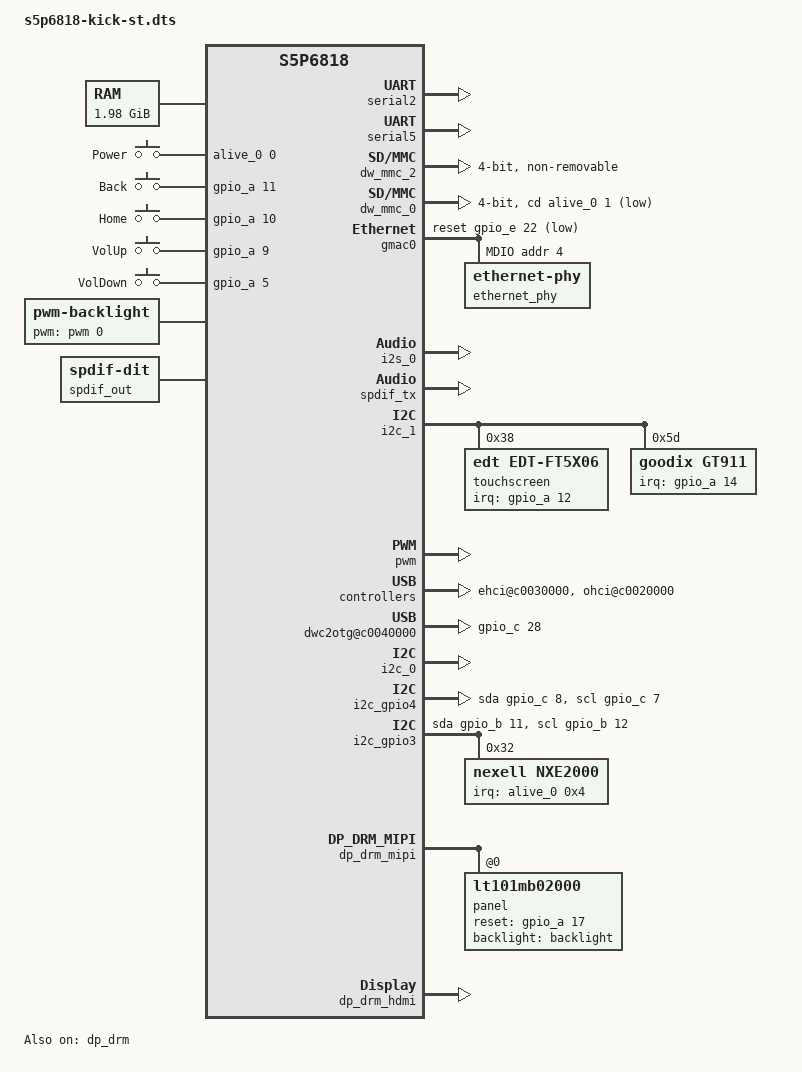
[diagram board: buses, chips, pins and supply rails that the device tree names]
/*
 * Copyright (C) 2016  Nexell Co., Ltd.
 * Author: Youngbok, Park <ybpark@nexell.co.kr>
 *
 * This program is free software; you can redistribute it and/or
 * modify it under the terms of the GNU General Public License
 * as published by the Free Software Foundation; either version 2
 * of the License, or (at your option) any later version.
 *
 * This program is distributed in the hope that it will be useful,
 * but WITHOUT ANY WARRANTY; without even the implied warranty of
 * MERCHANTABILITY or FITNESS FOR A PARTICULAR PURPOSE.  See the
 * GNU General Public License for more details.
 *
 * You should have received a copy of the GNU General Public License
 * along with this program.  If not, see <http://www.gnu.org/licenses/>.
 */

/dts-v1/;
/memreserve/ 0x7ed00000 0x00100000; /* OP-TEE SHM */
#include <dt-bindings/interrupt-controller/irq.h>
#include <dt-bindings/gpio/gpio.h>
#include <dt-bindings/input/input.h>
#include "s5p6818.dtsi"

#define PMIC_PDATA_INIT(_id, _rname, _minuv,    \
			_maxuv, _init_uv, _init_enable, \
			_set_init_uV, _slp_slots)       \
		regulator-name = _rname;                \
		regulator-min-microvolt = <_minuv>;     \
		regulator-max-microvolt = <_maxuv>;     \
		nx,id = <_id>;                          \
		nx,init_enable = <_init_enable>;        \
		nx,init_uV = <_init_uv>;                \
		nx,set_init_uV = <_set_init_uV>;        \
		nx,sleep_slots = <_slp_slots>;

/ {
	memory {
		device_type = "memory";
		reg = <0x40000000 0x7ee00000>;
	};

	nx-v4l2 {
		status = "okay";
	};

	soc {
		#include "s5p6818-pinctrl.dtsi"

		clocks {
			uart0:uart@c00a9000 { clock-frequency = <147500000>; };
			uart1:uart@c00a8000 { clock-frequency = <147500000>; };
			uart2:uart@c00aa000 { clock-frequency = <147500000>; };
			uart3:uart@c00ab000 { clock-frequency = <147500000>; };
			uart4:uart@c006e000 { clock-frequency = <147500000>; };
			uart5:uart@c0084000 { clock-frequency = <147500000>; };
			pwm0:pwm0@c00ba000 { clock-frequency = <100000000>; };
			i2c0:i2c@c00ae000  { clock-frequency = <200000000>; };
			i2c1:i2c@c00af000  { clock-frequency = <200000000>; };
			i2c2:i2c@c00b0000  { clock-frequency = <200000000>; };
		};

		serial2:serial@c00a2000 {
			status ="okay";
		};

		serial5:serial@c006f000 {
			status ="okay";
		};

		amba {
			pl08xdma0:pl08xdma@c0000000 {
				use_isr;

				ch12 {
					slave_wait_flush_dma;
				};

				ch13 {
					slave_wait_flush_dma;
				};

				ch14 {
					slave_wait_flush_dma;
				};

				ch15 {
					slave_wait_flush_dma;
				};
			};

			pl08xdma1:pl08xdma@c0001000 {
				use_isr;

				ch0 {
					slave_wait_flush_dma;
				};

				ch1 {
					slave_wait_flush_dma;
				};
			};
		};

		dynamic-freq@bb000 {
			supply_name = "vdd_core_regulator";
			vdd_core_regulator-supply = <&VCC_DCDC0>;
		};

		tmuctrl_0: tmuctrl@c0096000 {
			status = "okay";
		};

		thermal-zones {
			cpu0_thermal: cpu0-thermal {
				thermal-sensors = <&tmuctrl_0>;
				polling-delay-passive = <1000>;
				polling-delay = <1000>;
				trips {
					cpu_alert0: cpu-alert-0 {
						temperature = <80000>;
						hysteresis = <100000>;
						type = "active";
					};
					cpu_alert1: cpu-alert-1 {
						temperature = <85000>;
						hysteresis = <100000>;
						type = "passive";
					};
					cpu_alert2: cpu-alert-2 {
						temperature = <100000>;
						hysteresis = <100000>;
						type = "passive";
					};
					cpu-crit-0 {
						temperature = <115000>;
						hysteresis = <100000>;
						type = "critical";
					};
				};

				cooling-maps {
					map0 {
						trip = <&cpu_alert0>;
						cooling-device = <&cpu0 1 1>;
					};
					map1 {
						trip = <&cpu_alert1>;
						cooling-device = <&cpu0 4 4>;
					};
					map2 {
						trip = <&cpu_alert2>;
						cooling-device = <&cpu0 10 10>;
					};
				};
			};
		};

		dw_mmc_2:dw_mmc@c0069000 {
			num-slots = <1>;
			bus-width = <4>;
			cap-mmc-highspeed;
			broken-cd;
			non-removable;
			clock-frequency = <200000000>;
			card-detect-delay = <200>;
			disable-wp;
			status = "okay";
			nexell,drive_dly = <0x0>;
			nexell,drive_shift = <0x03>;
			nexell,sample_dly = <0x00>;
			nexell,sample_shift = <0x02>;
		};

		dw_mmc_0:dw_mmc@c0062000 {
			num-slots = <1>;
			bus-width = <4>;
			cap-sd-highspeed;
			clock-frequency = <100000000>;
			card-detect-delay = <200>;
			disable-wp;
			cd-gpios = <&alive_0 1 0>;
			cd-inverted;
			nexell,drive_dly = <0x0>;
			nexell,drive_shift = <0x02>;
			nexell,sample_dly = <0x00>;
			nexell,sample_shift = <0x01>;
			status = "okay";
		};

		gmac0:ethernet@c0060000 {
			pinctrl-names = "default";
			pinctrl-0 = <&gmac_pins>;

			status = "okay";
			#address-cells = <0x1>;
			#size-cells = <0x0>;

			snps,phy-addr = <4>;
			snps,reset-gpio = <&gpio_e 22 0>;
			snps,reset-active-low;
			snps,reset-delays-us = <0 10000 30000>;

			mdio {
				#address-cells = <1>;
				#size-cells = <0>;

				ethernet_phy: ethernet-phy@4 {
					reg = <4>;
					fixed-link {
						speed = <1000>;
						full-duplex;
					};
				};
			};
		};

		i2s_0:i2s@c0055000 {
			#sound-dai-cells = <1>;
			master-mode = <1>;
			mclk-in = <0>;
			trans-mode = <0>;
			frame-bit = <32>;
			sample-rate = <48000>;
			pre-supply-mclk = <1>;
			status = "okay";
		};

		spdif_tx: spdiftx@c0059000 {
			#sound-dai-cells = <1>;
			pcm-bit = <16>;
			sample_rate = <48000>;
			status = "okay";
		};
		i2c_1:i2c@c00a5000 {
			status = "okay";
			#address-cells = <1>;
			#size-cells = <0>;

			touchscreen@38 {
				compatible = "edt,edt-ft5x06";
				reg = <0x38>;
				interrupt-parent = <&gpio_a>;
				interrupts = <12 IRQ_TYPE_EDGE_FALLING>;
			};

			goodix@5d {
				compatible = "goodix,gt911";
				reg = <0x5d>;
				interrupt-parent = <&gpio_a>;
				interrupts = <14 IRQ_TYPE_EDGE_FALLING>;
			};

		};

		i2c_2:i2c@c00a6000 {
			status = "diabled";
			#address-cells = <1>;
			#size-cells = <0>;

			rt5640: rt5640@1c {
				#sound-dai-cells = <0>;
				compatible = "realtek,rt5640";
				reg = <0x1c>;
				realtek,ldo1-en-gpios =
					<&gpio_c 4 GPIO_ACTIVE_HIGH>;
			};
		};

		rtc@c0010c00 {
			status = "okay";
		};

		pwm:pwm@c0018000 {
			clocks =  <&pwm0>;
			clock-names = "pwm-tclk0";
			pinctrl-0 = <&pwm0_pin>;
			samsung,pwm-outputs = <0>;
			status = "okay";
		};

		pinctrl@C0010000 {
			key_power:key_power {
				nexell,pins = "alive-0";
				nexell,pin-function = <0>;
				nexell,pin-pull = <1>;
				nexell,pin-strength = <0>;
			};

			key_back:key_back {
				nexell,pins = "gpioa-11";
				nexell,pin-function = <0>;
				nexell,pin-pull = <1>;
				nexell,pin-strength = <0>;
			};

			key_home:key_home {
				nexell,pins = "gpioa-10";
				nexell,pin-function = <0>;
				nexell,pin-pull = <1>;
				nexell,pin-strength = <0>;
			};

			key_volup:key_volup {
				nexell,pins = "gpioa-9";
				nexell,pin-function = <0>;
				nexell,pin-pull = <1>;
				nexell,pin-strength = <0>;
			};

			key_voldown:key_voldown {
				nexell,pins = "gpioa-5";
				nexell,pin-function = <0>;
				nexell,pin-pull = <1>;
				nexell,pin-strength = <0>;
			};

			pmic_irq:pmic_irq{
				nexell,pins = "alive-5";
				nexell,pin-function = <0>;
				nexell,pin-pull = <1>;
				nexell,pin-strength = <0>;
			};
		};

		nexell_usbphy: nexell-usbphy@c0012000 {
			status = "okay";
		};

		ehci@c0030000 {
			status = "okay";
			port@0 {
				status = "okay";
			};
		};

		ohci@c0020000 {
			status = "okay";
			port@0 {
				status = "okay";
			};
		};

		dwc2otg@c0040000 {
			gpios = <&gpio_c 28 0>;
			status = "okay";
		};

		i2c_0:i2c@c00a4000 {
			status = "okay";
		};

		i2c_gpio4:i2c@4 {
			compatible = "i2c-gpio";
			gpios = <&gpio_c 8 0 /* sda */
				&gpio_c 7 0 /* scl */
				>;
			i2c-gpio,delay-us = <100>;
			#address-cells = <1>;
			#size-cells = <0>;
		};

		gpio_key: gpio_keys {
			compatible = "gpio-keys";
			#address-cells = <1>;
			#size-cells = <0>;
			pinctrl-names = "default";
			pinctrl-0 = <&key_power &key_back &key_voldown
				&key_home>;

			power {
				label = "Power";
				gpios = <&alive_0 0 0>;
				linux,code = <KEY_POWER>;
				gpio-key,wakeup;
			};

			back {
				label = "Back";
				gpios = <&gpio_a 11 0>;
				linux,code = <KEY_BACK>;
			};

			home {
				label = "Home";
				gpios = <&gpio_a 10 0>;
				linux,code = <KEY_HOMEPAGE>;
			};

			volup {
				label = "VolUp";
				gpios = <&gpio_a 9 0>;
				linux,code = <KEY_VOLUMEDOWN>;
			};

			voldown {
				label = "VolDown";
				gpios = <&gpio_a 5 0>;
				linux,code = <KEY_VOLUMEDOWN>;
			};
		};
	};	/*** soc ***/

	backlight: pwm-backlight {
		compatible = "pwm-backlight";
		pwms = <&pwm 0 30000 0>;
		pwm-names = "pwm-backlight";
		brightness-levels = < 0  1  2  3  4  5  6  7  8  9
				     10 11 12 13 14 15 16 17 18 19
				     20 21 22 23 24 25 26 27 28 29
				     30 31 32 33 34 35 36 37 38 39
				     40 41 42 43 44 45 46 47 48 49
				     50 51 52 53 54 55 56 57 58 59
				     60 61 62 63 64 65 66 67 68 69
				     70 71 72 73 74 75 76 77 78 79
				     80 81 82 83 84 85 86 87 88 89
				     90 91 92 93 94 95 96 97 98 99
				    100>;
		default-brightness-level = <60>;
		status = "okay";
	};

	sound {
		compatible = "simple-audio-card";
		simple-audio-card,name = "s5p6818 kick-st Audio";
		simple-audio-card,mclk-fs = <256>;

		simple-audio-card,dai-link@0 {
		    cpu {
			sound-dai = <&spdif_tx 0>;
		    };

		    codec {
			sound-dai = <&spdif_out>;
		    };
		};
	};

	spdif_out: spdif-out {
		#sound-dai-cells = <0>;
		compatible = "linux,spdif-dit";
	};

	i2c_gpio3: i2c@3 {
		compatible = "i2c-gpio";
		gpios = <&gpio_b 11 0	/* sda */
			&gpio_b 12 0	/* scl */
			>;

		i2c-gpio,delay-us = <1>;	/* ~100kHz */
		#address-cells = <1>;
		#size-cells = <0>;
		status = "okay";

		nxe2000@32 {
			compatible = "nexell,nxe2000";
			reg = <0x32>;
			interrupt-parent = <&alive_0>;
			interrupts = <0x4 IRQ_TYPE_EDGE_FALLING>;
			pinctrl-names = "default";
			pinctrl-0 = <&pmic_irq>;
		};
	};

	nexell-ion@0 {
		compatible = "nexell,ion";

		heap_sys_user@0 {
			heap-type = "ion_system";
		};

		heap_sys_contig@0 {
			heap-type = "ion_system_contig";
		};

		heap_dma@0 {
			heap-type = "ion_dma";
		};
	};

	regulators {
		VCC_DCDC0:
			dcdc1	{ PMIC_PDATA_INIT( 0,
				"nxe2000_dcdc1",
				900000, 1500000,
				1100000, 1, 0, 0x4)
				regulator-always-on;
				regulator-boot-on;};
		VCC_DCDC1:
			dcdc2	{ PMIC_PDATA_INIT( 1,
				"nxe2000_dcdc2",
				1000000, 1500000,
				1200000, 1, 0, 0x4)
				regulator-always-on;
				regulator-boot-on;};
		VCC_DCDC2:
			dcdc3	{ PMIC_PDATA_INIT( 2,
				"nxe2000_dcdc3",
				1000000, 3500000,
				3300000, 1, 1, 0xF)
				regulator-always-on;
				regulator-boot-on;};
		VCC_DCDC3:
			dcdc4	{ PMIC_PDATA_INIT( 3,
				"nxe2000_dcdc4",
				1000000, 2000000,
				1500000, 1, 0, 0xF)
				regulator-always-on;
				regulator-boot-on;};
		VCC_DCDC4:
			dcdc5	{ PMIC_PDATA_INIT( 4,
				"nxe2000_dcdc5",
				1000000, 2000000,
				1500000, 1, 0, 0x4)
				regulator-always-on;
				regulator-boot-on;};
		VCC_LDO0:
			ldo1	{ PMIC_PDATA_INIT( 5,
				"nxe2000_ldo1",
				1000000, 3500000,
				3300000, 0, 1, 0x0)
				regulator-boot-on;};
		VCC_LDO1:
			ldo2	{ PMIC_PDATA_INIT( 6,
				"nxe2000_ldo2",
				1000000, 3500000,
				1800000, 0, 1, 0x0)
				regulator-boot-on;};
		VCC_LDO2:
			ldo3	{ PMIC_PDATA_INIT( 7,
				"nxe2000_ldo3",
				1000000, 3500000,
				1800000, 1, 1, 0xF)
				regulator-always-on;
				regulator-boot-on;};
		VCC_LDO3:
			ldo4	{ PMIC_PDATA_INIT( 8,
				"nxe2000_ldo4",
				1000000, 3500000,
				1800000, 1, 1, 0x2)
				regulator-always-on;
				regulator-boot-on;};
		VCC_LDO4:
			ldo5	{ PMIC_PDATA_INIT( 9,
				"nxe2000_ldo5",
				1000000, 3500000,
				3300000, 0, 1, 0x0)
				regulator-boot-on;};
		VCC_LDO5:
			ldo6	{ PMIC_PDATA_INIT(10,
				"nxe2000_ldo6",
				1000000, 3500000,
				3300000, 1, 1, 0xF)
				regulator-always-on;
				regulator-boot-on;};
		VCC_LDO6:
			ldo7	{ PMIC_PDATA_INIT(11,
				"nxe2000_ldo7",
				1000000, 3500000,
				2800000, 1, 1, 0x0)
				regulator-always-on;
				regulator-boot-on;};
		VCC_LDO7:
			ldo8	{ PMIC_PDATA_INIT(12,
				"nxe2000_ldo8",
				1000000, 3500000,
				3300000, 0, 1, 0xF)
				regulator-boot-on;};
		VCC_LDO8:
			ldo9	{ PMIC_PDATA_INIT(13,
				"nxe2000_ldo9",
				1000000, 3500000,
				1800000, 0, 1, 0x2)
				regulator-boot-on;};
		VCC_LDO9:
			ldo10	{ PMIC_PDATA_INIT(14,
				"nxe2000_ldo10",
				1000000, 3500000,
				1200000, 1, 1, 0x4)
				regulator-always-on;
				regulator-boot-on;};
		VCC_RTC0:
			ldortc1	{ PMIC_PDATA_INIT(15,
				"nxe2000_rtc1",
				1700000, 3500000,
				1800000, 1, 1, 0xF)
				regulator-always-on;
				regulator-boot-on;};
		VCC_RTC1:
			ldortc2	{ PMIC_PDATA_INIT(16,
				"nxe2000_rtc2",
				1000000, 3500000,
				1000000, 1, 1, 0xF)
				regulator-always-on;
				regulator-boot-on;};
	}; /* regulators */
};

&dp_drm {
	status = "okay";
	ports {
		port@0 {
			reg = <0>;
			back_color = < 0x0>;
			color_key = < 0x0>;
			plane-names = "video", "primary", "rgb";
		};
		port@1 {
			reg = <1>;
			back_color = < 0x0>;
			color_key = < 0x0>;
			plane-names = "video", "primary";
		};
	};
};

&dp_drm_mipi {
	status = "okay";
	hs_bitrate = <1000>;
	lp_bitrate = <80>;

	panel@0 {
		compatible = "lt101mb02000";
		backlight = <&backlight>;
		reg = <0>;
		reset-gpio = <&gpio_a 17 0>;
		power-on-delay= <50>;
		reset-delay = <100>;
		init-delay = <100>;
	};

	dp_control {
		clk_src_lv0 = <0>;
		clk_div_lv0 = <5>;
		clk_src_lv1 = <7>;
		clk_div_lv1 = <1>;
		out_format = <3>;
		vs_start_offset = <2387>;
		ev_start_offset = <2387>;
		vs_end_offset = <0>;
		ev_end_offset = <0>;
	};
};

&dp_drm_hdmi {
	ddc-i2c-bus = <&i2c_gpio4>;
	enable-gpios = <&gpio_a 21 0>;
	status = "ok";
	q_range = <0>;
	skip-boot-connect;
};
